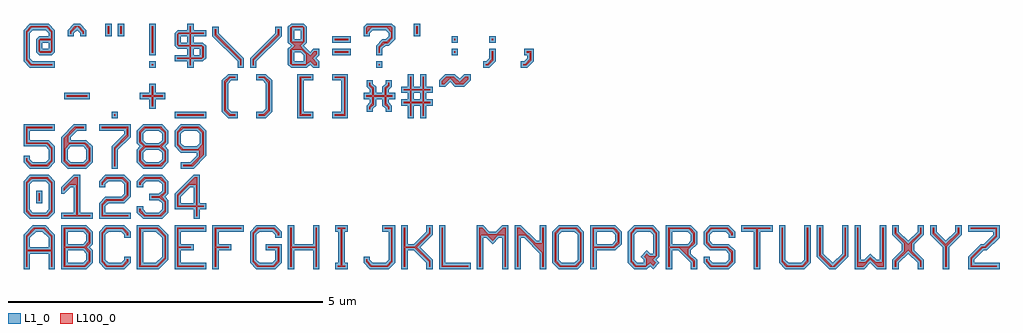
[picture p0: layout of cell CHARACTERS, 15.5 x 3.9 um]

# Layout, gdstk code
import gdstk
lib = gdstk.Library(unit=1e-6, precision=1e-09)
def R(c, l, rs):  # rectangles x0, y0, x1, y1
    for r in rs: c.add(gdstk.rectangle(r[:2], r[2:], *l))
def P(c, l, *ps):  # polygons
    for p in ps: c.add(gdstk.Polygon(p, *l))
L1_0 = (1, 0)
L100_0 = (100, 0)

c_0 = lib.new_cell('0')
R(c_0, L1_0, [(0.2,0.25,0.3,0.45)])
P(c_0, L1_0, [(0.1,0),(0,0.1),(0,0.6),(0.1,0.7),(0.4,0.7),(0.5,0.6),(0.15,0.6),(0.1,0.55),(0.1,0.15),(0.15,0.1),(0.35,0.1),(0.4,0.15),(0.4,0.55),(0.35,0.6),(0.5,0.6),(0.5,0.1),(0.4,0)])

c_8 = lib.new_cell('8')
P(c_8, L1_0, [(0.1,0),(0,0.1),(0,0.3),(0.05,0.35),(0,0.4),(0,0.6),(0.1,0.7),(0.4,0.7),(0.5,0.6),(0.15,0.6),(0.1,0.55),(0.1,0.45),(0.15,0.4),(0.35,0.4),(0.4,0.45),(0.4,0.55),(0.35,0.6),(0.5,0.6),(0.5,0.4),(0.45,0.35),(0.5,0.3),(0.15,0.3),(0.1,0.25),(0.1,0.15),(0.15,0.1),(0.35,0.1),(0.4,0.15),(0.4,0.25),(0.35,0.3),(0.5,0.3),(0.5,0.1),(0.4,0)])

c_5 = lib.new_cell('5')
P(c_5, L1_0, [(0.1,0),(0,0.1),(0,0.2),(0.1,0.2),(0.1,0.15),(0.15,0.1),(0.35,0.1),(0.4,0.15),(0.4,0.3),(0.35,0.35),(0,0.35),(0,0.7),(0.5,0.7),(0.5,0.6),(0.1,0.6),(0.1,0.45),(0.4,0.45),(0.5,0.35),(0.5,0.1),(0.4,0)])

c_2 = lib.new_cell('2')
P(c_2, L1_0, [(0,0),(0,0.25),(0.1,0.35),(0.35,0.35),(0.4,0.4),(0.4,0.55),(0.35,0.6),(0.15,0.6),(0.1,0.55),(0.1,0.5),(0,0.5),(0,0.6),(0.1,0.7),(0.4,0.7),(0.5,0.6),(0.5,0.35),(0.4,0.25),(0.15,0.25),(0.1,0.2),(0.1,0.1),(0.5,0.1),(0.5,0)])

c_y = lib.new_cell('Y')
P(c_y, L1_0, [(0.2,0),(0.2,0.35),(0,0.55),(0,0.7),(0.1,0.7),(0.1,0.6),(0.25,0.45),(0.4,0.6),(0.4,0.7),(0.5,0.7),(0.5,0.55),(0.3,0.35),(0.3,0)])

c_v = lib.new_cell('V')
P(c_v, L1_0, [(0.2,0),(0,0.2),(0,0.7),(0.1,0.7),(0.1,0.25),(0.25,0.1),(0.4,0.25),(0.4,0.7),(0.5,0.7),(0.5,0.2),(0.3,0)])

c_s = lib.new_cell('S')
P(c_s, L1_0, [(0.1,0),(0,0.1),(0,0.2),(0.1,0.2),(0.1,0.15),(0.15,0.1),(0.35,0.1),(0.4,0.15),(0.4,0.25),(0.35,0.3),(0.1,0.3),(0,0.4),(0,0.6),(0.1,0.7),(0.4,0.7),(0.5,0.6),(0.5,0.5),(0.4,0.5),(0.4,0.55),(0.35,0.6),(0.15,0.6),(0.1,0.55),(0.1,0.45),(0.15,0.4),(0.4,0.4),(0.5,0.3),(0.5,0.1),(0.4,0)])

c_p = lib.new_cell('P')
P(c_p, L1_0, [(0,0),(0,0.7),(0.4,0.7),(0.5,0.6),(0.5,0.4),(0.4,0.3),(0.1,0.3),(0.1,0.4),(0.35,0.4),(0.4,0.45),(0.4,0.55),(0.35,0.6),(0.1,0.6),(0.1,0)])

c_m = lib.new_cell('M')
P(c_m, L1_0, [(0,0),(0,0.7),(0.1,0.7),(0.2,0.6),(0.3,0.6),(0.4,0.7),(0.5,0.7),(0.5,0),(0.4,0),(0.4,0.5),(0.35,0.5),(0.25,0.4),(0.15,0.5),(0.1,0.5),(0.1,0)])

c_j = lib.new_cell('J')
P(c_j, L1_0, [(0.1,0),(0,0.1),(0,0.2),(0.1,0.2),(0.1,0.15),(0.15,0.1),(0.35,0.1),(0.4,0.15),(0.4,0.6),(0.3,0.6),(0.3,0.7),(0.5,0.7),(0.5,0.1),(0.4,0)])

c_c = lib.new_cell('C')
P(c_c, L1_0, [(0.1,0),(0,0.1),(0,0.6),(0.1,0.7),(0.4,0.7),(0.5,0.6),(0.5,0.5),(0.4,0.5),(0.4,0.55),(0.35,0.6),(0.15,0.6),(0.1,0.55),(0.1,0.15),(0.15,0.1),(0.35,0.1),(0.4,0.15),(0.4,0.2),(0.5,0.2),(0.5,0.1),(0.4,0)])

c_f = lib.new_cell('F')
P(c_f, L1_0, [(0,0),(0,0.7),(0.5,0.7),(0.5,0.6),(0.1,0.6),(0.1,0.4),(0.3,0.4),(0.3,0.3),(0.1,0.3),(0.1,0)])

c_i = lib.new_cell('I')
P(c_i, L1_0, [(0.15,0),(0.15,0.1),(0.2,0.1),(0.2,0.6),(0.15,0.6),(0.15,0.7),(0.35,0.7),(0.35,0.6),(0.3,0.6),(0.3,0.1),(0.35,0.1),(0.35,0)])

c_9 = lib.new_cell('9')
P(c_9, L1_0, [(0.1,0),(0.1,0.1),(0.25,0.1),(0.35,0.2),(0.35,0.25),(0.1,0.25),(0,0.35),(0.35,0.35),(0.4,0.4),(0.4,0.55),(0.35,0.6),(0.15,0.6),(0.1,0.55),(0.1,0.4),(0.15,0.35),(0,0.35),(0,0.6),(0.1,0.7),(0.4,0.7),(0.5,0.6),(0.5,0.2),(0.3,0)])

c_6 = lib.new_cell('6')
P(c_6, L1_0, [(0.1,0),(0,0.1),(0,0.5),(0.2,0.7),(0.4,0.7),(0.4,0.6),(0.25,0.6),(0.15,0.5),(0.15,0.45),(0.4,0.45),(0.5,0.35),(0.15,0.35),(0.1,0.3),(0.1,0.15),(0.15,0.1),(0.35,0.1),(0.4,0.15),(0.4,0.3),(0.35,0.35),(0.5,0.35),(0.5,0.1),(0.4,0)])

c_3 = lib.new_cell('3')
P(c_3, L1_0, [(0.1,0),(0,0.1),(0,0.2),(0.1,0.2),(0.1,0.15),(0.15,0.1),(0.35,0.1),(0.4,0.15),(0.4,0.25),(0.35,0.3),(0.2,0.3),(0.2,0.4),(0.35,0.4),(0.4,0.45),(0.4,0.55),(0.35,0.6),(0.15,0.6),(0.1,0.55),(0.1,0.5),(0,0.5),(0,0.6),(0.1,0.7),(0.4,0.7),(0.5,0.6),(0.5,0.4),(0.45,0.35),(0.5,0.3),(0.5,0.1),(0.4,0)])

c_z = lib.new_cell('Z')
P(c_z, L1_0, [(0,0),(0,0.2),(0.2,0.4),(0.25,0.4),(0.4,0.55),(0.4,0.6),(0,0.6),(0,0.7),(0.5,0.7),(0.5,0.5),(0.3,0.3),(0.25,0.3),(0.1,0.15),(0.1,0.1),(0.5,0.1),(0.5,0)])

c_w = lib.new_cell('W')
P(c_w, L1_0, [(0,0),(0,0.7),(0.1,0.7),(0.1,0.15),(0.15,0.15),(0.25,0.25),(0.35,0.15),(0.4,0.15),(0.4,0.7),(0.5,0.7),(0.5,0),(0.35,0),(0.25,0.1),(0.15,0)])

c_t = lib.new_cell('T')
P(c_t, L1_0, [(0.2,0),(0.2,0.6),(0,0.6),(0,0.7),(0.5,0.7),(0.5,0.6),(0.3,0.6),(0.3,0)])

c_q = lib.new_cell('Q')
P(c_q, L1_0, [(0.1,0),(0,0.1),(0,0.6),(0.1,0.7),(0.4,0.7),(0.5,0.6),(0.15,0.6),(0.1,0.55),(0.1,0.15),(0.15,0.1),(0.25,0.1),(0.25,0.15),(0.2,0.2),(0.3,0.3),(0.35,0.25),(0.4,0.25),(0.4,0.55),(0.35,0.6),(0.5,0.6),(0.5,0.2),(0.45,0.15),(0.5,0.1),(0.4,0),(0.35,0.05),(0.3,0)])

c_n = lib.new_cell('N')
P(c_n, L1_0, [(0,0),(0,0.7),(0.1,0.7),(0.35,0.45),(0.4,0.45),(0.4,0.7),(0.5,0.7),(0.5,0),(0.4,0),(0.4,0.25),(0.15,0.5),(0.1,0.5),(0.1,0)])

c_k = lib.new_cell('K')
P(c_k, L1_0, [(0,0),(0,0.7),(0.1,0.7),(0.1,0.4),(0.2,0.4),(0.4,0.6),(0.4,0.7),(0.5,0.7),(0.5,0.55),(0.3,0.35),(0.5,0.15),(0.5,0),(0.4,0),(0.4,0.1),(0.2,0.3),(0.1,0.3),(0.1,0)])

c_b = lib.new_cell('B')
P(c_b, L1_0, [(0,0),(0,0.7),(0.4,0.7),(0.5,0.6),(0.1,0.6),(0.1,0.4),(0.35,0.4),(0.4,0.45),(0.4,0.55),(0.35,0.6),(0.5,0.6),(0.5,0.4),(0.45,0.35),(0.5,0.3),(0.1,0.3),(0.1,0.1),(0.35,0.1),(0.4,0.15),(0.4,0.25),(0.35,0.3),(0.5,0.3),(0.5,0.1),(0.4,0)])

c_e = lib.new_cell('E')
P(c_e, L1_0, [(0,0),(0,0.7),(0.5,0.7),(0.5,0.6),(0.1,0.6),(0.1,0.4),(0.3,0.4),(0.3,0.3),(0.1,0.3),(0.1,0.1),(0.5,0.1),(0.5,0)])

c_h = lib.new_cell('H')
P(c_h, L1_0, [(0,0),(0,0.7),(0.1,0.7),(0.1,0.4),(0.4,0.4),(0.4,0.7),(0.5,0.7),(0.5,0),(0.4,0),(0.4,0.3),(0.1,0.3),(0.1,0)])

c_7 = lib.new_cell('7')
P(c_7, L1_0, [(0.2,0),(0.2,0.35),(0.4,0.55),(0.4,0.6),(0,0.6),(0,0.7),(0.5,0.7),(0.5,0.5),(0.3,0.3),(0.3,0)])

c_4 = lib.new_cell('4')
P(c_4, L1_0, [(0.3,0),(0.3,0.15),(0,0.15),(0,0.25),(0.3,0.25),(0.3,0.5),(0.25,0.5),(0.1,0.35),(0.1,0.25),(0,0.25),(0,0.4),(0.3,0.7),(0.4,0.7),(0.4,0.25),(0.5,0.25),(0.5,0.15),(0.4,0.15),(0.4,0)])

c_1 = lib.new_cell('1')
P(c_1, L1_0, [(0,0),(0,0.1),(0.2,0.1),(0.2,0.5),(0.15,0.5),(0.05,0.4),(0,0.4),(0,0.5),(0.2,0.7),(0.3,0.7),(0.3,0.1),(0.5,0.1),(0.5,0)])

c_x = lib.new_cell('X')
P(c_x, L1_0, [(0,0),(0,0.15),(0.15,0.3),(0.15,0.4),(0,0.55),(0,0.7),(0.1,0.7),(0.1,0.6),(0.25,0.45),(0.4,0.6),(0.4,0.7),(0.5,0.7),(0.5,0.55),(0.35,0.4),(0.35,0.3),(0.5,0.15),(0.5,0),(0.4,0),(0.4,0.1),(0.25,0.25),(0.1,0.1),(0.1,0)])

c_u = lib.new_cell('U')
P(c_u, L1_0, [(0.1,0),(0,0.1),(0,0.7),(0.1,0.7),(0.1,0.15),(0.15,0.1),(0.35,0.1),(0.4,0.15),(0.4,0.7),(0.5,0.7),(0.5,0.1),(0.4,0)])

c_r = lib.new_cell('R')
P(c_r, L1_0, [(0,0),(0,0.7),(0.4,0.7),(0.5,0.6),(0.1,0.6),(0.1,0.4),(0.35,0.4),(0.4,0.45),(0.4,0.55),(0.35,0.6),(0.5,0.6),(0.5,0.4),(0.4,0.3),(0.4,0.25),(0.5,0.15),(0.5,0),(0.4,0),(0.4,0.1),(0.2,0.3),(0.1,0.3),(0.1,0)])

c_o = lib.new_cell('O')
P(c_o, L1_0, [(0.1,0),(0,0.1),(0,0.6),(0.1,0.7),(0.4,0.7),(0.5,0.6),(0.5,0.35),(0.4,0.35),(0.4,0.55),(0.35,0.6),(0.15,0.6),(0.1,0.55),(0.1,0.15),(0.15,0.1),(0.35,0.1),(0.4,0.15),(0.4,0.35),(0.5,0.35),(0.5,0.1),(0.4,0)])

c_l = lib.new_cell('L')
P(c_l, L1_0, [(0,0),(0,0.7),(0.1,0.7),(0.1,0.1),(0.5,0.1),(0.5,0)])

c_a = lib.new_cell('A')
P(c_a, L1_0, [(0,0),(0,0.55),(0.15,0.7),(0.35,0.7),(0.45,0.6),(0.2,0.6),(0.1,0.5),(0.1,0.35),(0.4,0.35),(0.4,0.5),(0.3,0.6),(0.45,0.6),(0.5,0.55),(0.5,0),(0.4,0),(0.4,0.25),(0.1,0.25),(0.1,0)])

c_d = lib.new_cell('D')
P(c_d, L1_0, [(0,0),(0,0.7),(0.35,0.7),(0.45,0.6),(0.1,0.6),(0.1,0.1),(0.3,0.1),(0.4,0.2),(0.4,0.5),(0.3,0.6),(0.45,0.6),(0.5,0.55),(0.5,0.15),(0.35,0)])

c_g = lib.new_cell('G')
P(c_g, L1_0, [(0.1,0),(0,0.1),(0,0.6),(0.1,0.7),(0.4,0.7),(0.5,0.6),(0.5,0.5),(0.4,0.5),(0.4,0.55),(0.35,0.6),(0.15,0.6),(0.1,0.55),(0.1,0.15),(0.15,0.1),(0.35,0.1),(0.4,0.15),(0.4,0.3),(0.25,0.3),(0.25,0.4),(0.5,0.4),(0.5,0.1),(0.4,0)])

characters = lib.new_cell('CHARACTERS')
R(characters, L1_0, [(1.4,2.4,1.5,2.5), (2.4,2.4,2.9,2.5), (0.65,2.7,1.05,2.8), (2,3.2,2.1,3.3), (5.6,3.2,5.7,3.3), (2,3.4,2.1,3.9), (4.9,3.4,5.2,3.5), (6.8,3.4,6.9,3.5), (4.9,3.6,5.2,3.7), (6.8,3.6,6.9,3.7), (7.4,3.6,7.5,3.7), (1.3,3.7,1.4,3.9), (1.5,3.7,1.6,3.9), (6.2,3.7,6.3,3.9)])
P(characters, L1_0, [(3.6,3.2),(3.6,3.35),(4,3.75),(4,3.85),(4.1,3.85),(4.1,3.7),(3.7,3.3),(3.7,3.2)],
  [(6.1,2.4),(6.1,2.6),(6,2.6),(6,2.7),(6.1,2.7),(6.1,2.8),(6,2.8),(6,2.9),(6.1,2.9),(6.1,3.1),(6.2,3.1),(6.2,2.9),(6.3,2.9),(6.3,3.1),(6.4,3.1),(6.4,2.9),(6.5,2.9),(6.5,2.8),(6.4,2.8),(6.4,2.7),(6.5,2.7),(6.5,2.6),(6.4,2.6),(6.4,2.4),(6.3,2.4),(6.3,2.8),(6.2,2.8),(6.2,2.7),(6.3,2.7),(6.3,2.6),(6.2,2.6),(6.2,2.4)],
  [(7.9,3.2),(7.9,3.3),(7.95,3.3),(8,3.35),(8,3.4),(7.95,3.4),(7.95,3.5),(8.1,3.5),(8.1,3.3),(8,3.2)],
  [(6.6,2.9),(6.6,3),(6.7,3.1),(6.85,3.1),(6.925,3.025),(7,3.1),(7.1,3.1),(7.1,3),(7,2.9),(6.85,2.9),(6.775,2.975),(6.7,2.9)],
  [(3.4,3.2),(3.4,3.3),(3,3.7),(3,3.85),(3.1,3.85),(3.1,3.75),(3.5,3.35),(3.5,3.2)],
  [(5.6,3.4),(5.6,3.55),(5.7,3.65),(5.75,3.65),(5.8,3.7),(5.8,3.75),(5.75,3.8),(5.55,3.8),(5.5,3.75),(5.5,3.7),(5.4,3.7),(5.4,3.85),(5.45,3.9),(5.85,3.9),(5.9,3.85),(5.9,3.65),(5.8,3.55),(5.75,3.55),(5.7,3.5),(5.7,3.4)],
  [(5.45,2.5),(5.45,2.6),(5.5,2.65),(5.5,2.7),(5.4,2.7),(5.4,2.8),(5.5,2.8),(5.5,2.85),(5.45,2.9),(5.45,3),(5.55,3),(5.55,2.95),(5.6,2.9),(5.6,2.8),(5.7,2.8),(5.7,2.9),(5.75,2.95),(5.75,3),(5.85,3),(5.85,2.9),(5.8,2.85),(5.8,2.8),(5.9,2.8),(5.9,2.7),(5.8,2.7),(5.8,2.65),(5.85,2.6),(5.85,2.5),(5.75,2.5),(5.75,2.55),(5.7,2.6),(5.7,2.7),(5.6,2.7),(5.6,2.6),(5.55,2.55),(5.55,2.5)],
  [(2,2.55),(2,2.7),(1.85,2.7),(1.85,2.8),(2,2.8),(2,2.95),(2.1,2.95),(2.1,2.8),(2.25,2.8),(2.25,2.7),(2.1,2.7),(2.1,2.55)],
  [(4.25,3.2),(4.2,3.25),(4.2,3.5),(4.25,3.55),(4.2,3.6),(4.2,3.85),(4.25,3.9),(4.45,3.9),(4.5,3.85),(4.5,3.8),(4.3,3.8),(4.3,3.65),(4.4,3.65),(4.4,3.8),(4.5,3.8),(4.5,3.6),(4.45,3.55),(4.55,3.45),(4.6,3.5),(4.7,3.5),(4.7,3.45),(4.3,3.45),(4.3,3.3),(4.45,3.3),(4.45,3.4),(4.4,3.45),(4.7,3.45),(4.7,3.4),(4.65,3.35),(4.7,3.3),(4.7,3.2),(4.6,3.2),(4.55,3.25),(4.5,3.2)],
  [(2.6,3.2),(2.6,3.3),(2.4,3.3),(2.4,3.4),(2.6,3.4),(2.6,3.5),(2.45,3.5),(2.4,3.55),(2.4,3.75),(2.45,3.8),(2.6,3.8),(2.6,3.9),(2.7,3.9),(2.7,3.8),(2.9,3.8),(2.9,3.7),(2.5,3.7),(2.5,3.6),(2.6,3.6),(2.6,3.7),(2.7,3.7),(2.7,3.6),(2.85,3.6),(2.9,3.55),(2.9,3.5),(2.7,3.5),(2.7,3.4),(2.8,3.4),(2.8,3.5),(2.9,3.5),(2.9,3.35),(2.85,3.3),(2.7,3.3),(2.7,3.2)],
  [(0.7,3.7),(0.7,3.8),(0.8,3.9),(0.9,3.9),(1,3.8),(1,3.7),(0.9,3.7),(0.9,3.75),(0.85,3.8),(0.8,3.75),(0.8,3.7)],
  [(0.1,3.2),(0,3.3),(0,3.8),(0.1,3.9),(0.4,3.9),(0.5,3.8),(0.5,3.5),(0.4,3.5),(0.4,3.6),(0.3,3.6),(0.3,3.5),(0.5,3.5),(0.5,3.45),(0.45,3.4),(0.25,3.4),(0.2,3.45),(0.2,3.65),(0.25,3.7),(0.4,3.7),(0.4,3.75),(0.35,3.8),(0.15,3.8),(0.1,3.75),(0.1,3.35),(0.15,3.3),(0.5,3.3),(0.5,3.2)],
  [(7.3,3.2),(7.3,3.3),(7.35,3.3),(7.4,3.35),(7.4,3.5),(7.5,3.5),(7.5,3.3),(7.4,3.2)],
  [(3.25,2.4),(3.15,2.5),(3.15,3),(3.25,3.1),(3.4,3.1),(3.4,3),(3.3,3),(3.25,2.95),(3.25,2.55),(3.3,2.5),(3.4,2.5),(3.4,2.4)],
  [(4.9,2.4),(4.9,2.5),(5.05,2.5),(5.05,3),(4.9,3),(4.9,3.1),(5.15,3.1),(5.15,2.4)],
  [(3.7,2.4),(3.7,2.5),(3.8,2.5),(3.85,2.55),(3.85,2.95),(3.8,3),(3.7,3),(3.7,3.1),(3.85,3.1),(3.95,3),(3.95,2.5),(3.85,2.4)],
  [(4.35,2.4),(4.35,3.1),(4.6,3.1),(4.6,3),(4.45,3),(4.45,2.5),(4.6,2.5),(4.6,2.4)])
R(characters, L100_0, [(0.24,1.09,0.26,1.21), (1.44,2.44,1.46,2.46), (2.44,2.44,2.86,2.46), (0.69,2.74,1.01,2.76), (2.04,3.24,2.06,3.26), (5.64,3.24,5.66,3.26), (2.04,3.44,2.06,3.86), (4.94,3.44,5.16,3.46), (6.84,3.44,6.86,3.46), (4.94,3.64,5.16,3.66), (6.84,3.64,6.86,3.66), (7.44,3.64,7.46,3.66), (1.34,3.74,1.36,3.86), (1.54,3.74,1.56,3.86), (6.24,3.74,6.26,3.86)])
P(characters, L100_0, [(9.716,0.04),(9.64,0.116),(9.64,0.584),(9.716,0.66),(9.984,0.66),(10.004,0.64),(9.734,0.64),(9.66,0.566),(9.66,0.134),(9.734,0.06),(9.89,0.06),(9.89,0.166),(9.856,0.2),(9.9,0.244),(9.934,0.21),(10.04,0.21),(10.04,0.566),(9.966,0.64),(10.004,0.64),(10.06,0.584),(10.06,0.216),(9.994,0.15),(10.044,0.1),(10,0.056),(9.95,0.106),(9.884,0.04)],
  [(12.116,0.04),(12.04,0.116),(12.04,0.66),(12.06,0.66),(12.06,0.134),(12.134,0.06),(12.366,0.06),(12.44,0.134),(12.44,0.66),(12.46,0.66),(12.46,0.116),(12.384,0.04)],
  [(10.24,0.04),(10.24,0.66),(10.584,0.66),(10.604,0.64),(10.26,0.64),(10.26,0.36),(10.566,0.36),(10.64,0.434),(10.64,0.566),(10.566,0.64),(10.604,0.64),(10.66,0.584),(10.66,0.416),(10.56,0.316),(10.56,0.234),(10.66,0.134),(10.66,0.04),(10.64,0.04),(10.64,0.116),(10.416,0.34),(10.26,0.34),(10.26,0.04)],
  [(7.94,3.24),(7.94,3.26),(7.966,3.26),(8.04,3.334),(8.04,3.44),(7.99,3.44),(7.99,3.46),(8.06,3.46),(8.06,3.316),(7.984,3.24)],
  [(10.916,0.04),(10.84,0.116),(10.84,0.16),(10.86,0.16),(10.86,0.134),(10.934,0.06),(11.166,0.06),(11.24,0.134),(11.24,0.266),(11.166,0.34),(10.916,0.34),(10.84,0.416),(10.84,0.584),(10.916,0.66),(11.184,0.66),(11.26,0.584),(11.26,0.54),(11.24,0.54),(11.24,0.566),(11.166,0.64),(10.934,0.64),(10.86,0.566),(10.86,0.434),(10.934,0.36),(11.184,0.36),(11.26,0.284),(11.26,0.116),(11.184,0.04)],
  [(15.04,0.04),(15.04,0.184),(15.216,0.36),(15.266,0.36),(15.44,0.534),(15.44,0.64),(15.04,0.64),(15.04,0.66),(15.46,0.66),(15.46,0.516),(15.284,0.34),(15.234,0.34),(15.06,0.166),(15.06,0.06),(15.46,0.06),(15.46,0.04)],
  [(12.816,0.04),(12.64,0.216),(12.64,0.66),(12.66,0.66),(12.66,0.234),(12.85,0.044),(13.04,0.234),(13.04,0.66),(13.06,0.66),(13.06,0.216),(12.884,0.04)],
  [(5.49,2.54),(5.49,2.584),(5.54,2.634),(5.54,2.74),(5.44,2.74),(5.44,2.76),(5.54,2.76),(5.54,2.866),(5.49,2.916),(5.49,2.96),(5.51,2.96),(5.51,2.934),(5.56,2.884),(5.56,2.76),(5.74,2.76),(5.74,2.884),(5.79,2.934),(5.79,2.96),(5.81,2.96),(5.81,2.916),(5.76,2.866),(5.76,2.76),(5.86,2.76),(5.86,2.74),(5.76,2.74),(5.76,2.634),(5.81,2.584),(5.81,2.54),(5.79,2.54),(5.79,2.566),(5.74,2.616),(5.74,2.74),(5.56,2.74),(5.56,2.616),(5.51,2.566),(5.51,2.54)],
  [(1.916,1.64),(1.84,1.716),(1.84,1.884),(1.906,1.95),(1.84,2.016),(1.84,2.184),(1.916,2.26),(2.184,2.26),(2.204,2.24),(1.934,2.24),(1.86,2.166),(1.86,2.034),(1.934,1.96),(2.166,1.96),(2.24,2.034),(2.24,2.166),(2.166,2.24),(2.204,2.24),(2.26,2.184),(2.26,2.016),(2.194,1.95),(2.204,1.94),(1.934,1.94),(1.86,1.866),(1.86,1.734),(1.934,1.66),(2.166,1.66),(2.24,1.734),(2.24,1.866),(2.166,1.94),(2.204,1.94),(2.26,1.884),(2.26,1.716),(2.184,1.64)],
  [(0.716,1.64),(0.64,1.716),(0.64,2.084),(0.816,2.26),(0.96,2.26),(0.96,2.24),(0.834,2.24),(0.71,2.116),(0.71,2.01),(0.984,2.01),(1.004,1.99),(0.734,1.99),(0.66,1.916),(0.66,1.734),(0.734,1.66),(0.966,1.66),(1.04,1.734),(1.04,1.916),(0.966,1.99),(1.004,1.99),(1.06,1.934),(1.06,1.716),(0.984,1.64)],
  [(9.04,0.04),(9.04,0.66),(9.384,0.66),(9.404,0.64),(9.06,0.64),(9.06,0.36),(9.366,0.36),(9.44,0.434),(9.44,0.566),(9.366,0.64),(9.404,0.64),(9.46,0.584),(9.46,0.416),(9.384,0.34),(9.06,0.34),(9.06,0.04)],
  [(4.266,3.24),(4.24,3.266),(4.24,3.484),(4.306,3.55),(4.24,3.616),(4.24,3.834),(4.266,3.86),(4.434,3.86),(4.454,3.84),(4.26,3.84),(4.26,3.61),(4.44,3.61),(4.44,3.84),(4.454,3.84),(4.46,3.834),(4.46,3.616),(4.394,3.55),(4.454,3.49),(4.26,3.49),(4.26,3.26),(4.49,3.26),(4.49,3.416),(4.416,3.49),(4.454,3.49),(4.55,3.394),(4.616,3.46),(4.66,3.46),(4.66,3.416),(4.594,3.35),(4.66,3.284),(4.66,3.24),(4.616,3.24),(4.55,3.306),(4.484,3.24)],
  [(6.04,0.04),(6.04,0.66),(6.06,0.66),(6.06,0.36),(6.216,0.36),(6.44,0.584),(6.44,0.66),(6.46,0.66),(6.46,0.566),(6.244,0.35),(6.46,0.134),(6.46,0.04),(6.44,0.04),(6.44,0.116),(6.216,0.34),(6.06,0.34),(6.06,0.04)],
  [(3.44,3.24),(3.44,3.316),(3.04,3.716),(3.04,3.81),(3.06,3.81),(3.06,3.734),(3.46,3.334),(3.46,3.24)],
  [(7.34,3.24),(7.34,3.26),(7.366,3.26),(7.44,3.334),(7.44,3.46),(7.46,3.46),(7.46,3.316),(7.384,3.24)],
  [(5.516,0.04),(5.44,0.116),(5.44,0.16),(5.46,0.16),(5.46,0.134),(5.534,0.06),(5.766,0.06),(5.84,0.134),(5.84,0.64),(5.74,0.64),(5.74,0.66),(5.86,0.66),(5.86,0.116),(5.784,0.04)],
  [(1.84,0.04),(1.84,0.66),(2.134,0.66),(2.154,0.64),(1.86,0.64),(1.86,0.06),(2.116,0.06),(2.24,0.184),(2.24,0.516),(2.116,0.64),(2.154,0.64),(2.26,0.534),(2.26,0.166),(2.134,0.04)],
  [(2.54,1.64),(2.54,1.66),(2.666,1.66),(2.79,1.784),(2.79,1.89),(2.516,1.89),(2.44,1.966),(2.44,2.184),(2.516,2.26),(2.784,2.26),(2.804,2.24),(2.534,2.24),(2.46,2.166),(2.46,1.984),(2.534,1.91),(2.766,1.91),(2.84,1.984),(2.84,2.166),(2.766,2.24),(2.804,2.24),(2.86,2.184),(2.86,1.816),(2.684,1.64)],
  [(3.74,2.44),(3.74,2.46),(3.816,2.46),(3.89,2.534),(3.89,2.966),(3.816,3.04),(3.74,3.04),(3.74,3.06),(3.834,3.06),(3.91,2.984),(3.91,2.516),(3.834,2.44)],
  [(1.24,0.84),(1.24,1.034),(1.316,1.11),(1.566,1.11),(1.64,1.184),(1.64,1.366),(1.566,1.44),(1.334,1.44),(1.26,1.366),(1.26,1.34),(1.24,1.34),(1.24,1.384),(1.316,1.46),(1.584,1.46),(1.66,1.384),(1.66,1.166),(1.584,1.09),(1.334,1.09),(1.26,1.016),(1.26,0.86),(1.66,0.86),(1.66,0.84)],
  [(3.64,3.24),(3.64,3.334),(4.04,3.734),(4.04,3.81),(4.06,3.81),(4.06,3.716),(3.66,3.316),(3.66,3.24)],
  [(2.64,3.24),(2.64,3.34),(2.44,3.34),(2.44,3.36),(2.64,3.36),(2.64,3.54),(2.466,3.54),(2.44,3.566),(2.44,3.734),(2.466,3.76),(2.64,3.76),(2.64,3.86),(2.66,3.86),(2.66,3.76),(2.86,3.76),(2.86,3.74),(2.46,3.74),(2.46,3.56),(2.64,3.56),(2.64,3.74),(2.66,3.74),(2.66,3.56),(2.834,3.56),(2.854,3.54),(2.66,3.54),(2.66,3.36),(2.84,3.36),(2.84,3.54),(2.854,3.54),(2.86,3.534),(2.86,3.366),(2.834,3.34),(2.66,3.34),(2.66,3.24)],
  [(1.916,0.84),(1.84,0.916),(1.84,0.96),(1.86,0.96),(1.86,0.934),(1.934,0.86),(2.166,0.86),(2.24,0.934),(2.24,1.066),(2.166,1.14),(2.04,1.14),(2.04,1.16),(2.166,1.16),(2.24,1.234),(2.24,1.366),(2.166,1.44),(1.934,1.44),(1.86,1.366),(1.86,1.34),(1.84,1.34),(1.84,1.384),(1.916,1.46),(2.184,1.46),(2.26,1.384),(2.26,1.216),(2.194,1.15),(2.26,1.084),(2.26,0.916),(2.184,0.84)],
  [(1.316,0.04),(1.24,0.116),(1.24,0.584),(1.316,0.66),(1.584,0.66),(1.66,0.584),(1.66,0.54),(1.64,0.54),(1.64,0.566),(1.566,0.64),(1.334,0.64),(1.26,0.566),(1.26,0.134),(1.334,0.06),(1.566,0.06),(1.64,0.134),(1.64,0.16),(1.66,0.16),(1.66,0.116),(1.584,0.04)],
  [(8.516,0.04),(8.44,0.116),(8.44,0.584),(8.516,0.66),(8.784,0.66),(8.804,0.64),(8.534,0.64),(8.46,0.566),(8.46,0.134),(8.534,0.06),(8.766,0.06),(8.84,0.134),(8.84,0.566),(8.766,0.64),(8.804,0.64),(8.86,0.584),(8.86,0.116),(8.784,0.04)],
  [(0.116,0.84),(0.04,0.916),(0.04,1.384),(0.116,1.46),(0.384,1.46),(0.404,1.44),(0.134,1.44),(0.06,1.366),(0.06,0.934),(0.134,0.86),(0.366,0.86),(0.44,0.934),(0.44,1.366),(0.366,1.44),(0.404,1.44),(0.46,1.384),(0.46,0.916),(0.384,0.84)],
  [(3.266,2.44),(3.19,2.516),(3.19,2.984),(3.266,3.06),(3.36,3.06),(3.36,3.04),(3.284,3.04),(3.21,2.966),(3.21,2.534),(3.284,2.46),(3.36,2.46),(3.36,2.44)],
  [(2.04,2.59),(2.04,2.74),(1.89,2.74),(1.89,2.76),(2.04,2.76),(2.04,2.91),(2.06,2.91),(2.06,2.76),(2.21,2.76),(2.21,2.74),(2.06,2.74),(2.06,2.59)],
  [(0.64,0.04),(0.64,0.66),(0.984,0.66),(1.004,0.64),(0.66,0.64),(0.66,0.36),(0.966,0.36),(1.04,0.434),(1.04,0.566),(0.966,0.64),(1.004,0.64),(1.06,0.584),(1.06,0.416),(0.994,0.35),(1.004,0.34),(0.66,0.34),(0.66,0.06),(0.966,0.06),(1.04,0.134),(1.04,0.266),(0.966,0.34),(1.004,0.34),(1.06,0.284),(1.06,0.116),(0.984,0.04)],
  [(0.04,0.04),(0.04,0.534),(0.166,0.66),(0.334,0.66),(0.354,0.64),(0.184,0.64),(0.06,0.516),(0.06,0.31),(0.44,0.31),(0.44,0.516),(0.316,0.64),(0.354,0.64),(0.46,0.534),(0.46,0.04),(0.44,0.04),(0.44,0.29),(0.06,0.29),(0.06,0.04)],
  [(4.94,2.44),(4.94,2.46),(5.09,2.46),(5.09,3.04),(4.94,3.04),(4.94,3.06),(5.11,3.06),(5.11,2.44)],
  [(6.64,0.04),(6.64,0.66),(6.66,0.66),(6.66,0.06),(7.06,0.06),(7.06,0.04)],
  [(0.74,3.74),(0.74,3.784),(0.816,3.86),(0.884,3.86),(0.96,3.784),(0.96,3.74),(0.94,3.74),(0.94,3.766),(0.85,3.856),(0.76,3.766),(0.76,3.74)],
  [(3.716,0.04),(3.64,0.116),(3.64,0.584),(3.716,0.66),(3.984,0.66),(4.06,0.584),(4.06,0.54),(4.04,0.54),(4.04,0.566),(3.966,0.64),(3.734,0.64),(3.66,0.566),(3.66,0.134),(3.734,0.06),(3.966,0.06),(4.04,0.134),(4.04,0.34),(3.89,0.34),(3.89,0.36),(4.06,0.36),(4.06,0.116),(3.984,0.04)],
  [(6.14,2.44),(6.14,2.64),(6.04,2.64),(6.04,2.66),(6.14,2.66),(6.14,2.84),(6.04,2.84),(6.04,2.86),(6.14,2.86),(6.14,3.06),(6.16,3.06),(6.16,2.86),(6.34,2.86),(6.34,3.06),(6.36,3.06),(6.36,2.86),(6.46,2.86),(6.46,2.84),(6.16,2.84),(6.16,2.66),(6.34,2.66),(6.34,2.84),(6.36,2.84),(6.36,2.66),(6.46,2.66),(6.46,2.64),(6.36,2.64),(6.36,2.44),(6.34,2.44),(6.34,2.64),(6.16,2.64),(6.16,2.44)],
  [(7.84,0.04),(7.84,0.66),(7.884,0.66),(8.134,0.41),(8.24,0.41),(8.24,0.66),(8.26,0.66),(8.26,0.04),(8.24,0.04),(8.24,0.266),(7.966,0.54),(7.86,0.54),(7.86,0.04)],
  [(1.44,1.64),(1.44,1.934),(1.64,2.134),(1.64,2.24),(1.24,2.24),(1.24,2.26),(1.66,2.26),(1.66,2.116),(1.46,1.916),(1.46,1.64)],
  [(3.04,0.04),(3.04,0.66),(3.46,0.66),(3.46,0.64),(3.06,0.64),(3.06,0.36),(3.26,0.36),(3.26,0.34),(3.06,0.34),(3.06,0.04)],
  [(5.64,3.44),(5.64,3.534),(5.716,3.61),(5.766,3.61),(5.84,3.684),(5.84,3.766),(5.766,3.84),(5.534,3.84),(5.46,3.766),(5.46,3.74),(5.44,3.74),(5.44,3.834),(5.466,3.86),(5.834,3.86),(5.86,3.834),(5.86,3.666),(5.784,3.59),(5.734,3.59),(5.66,3.516),(5.66,3.44)],
  [(6.64,2.94),(6.64,2.984),(6.716,3.06),(6.834,3.06),(6.925,2.969),(7.016,3.06),(7.06,3.06),(7.06,3.016),(6.984,2.94),(6.866,2.94),(6.775,3.031),(6.684,2.94)],
  [(11.64,0.04),(11.64,0.64),(11.44,0.64),(11.44,0.66),(11.86,0.66),(11.86,0.64),(11.66,0.64),(11.66,0.04)],
  [(0.116,1.64),(0.04,1.716),(0.04,1.76),(0.06,1.76),(0.06,1.734),(0.134,1.66),(0.366,1.66),(0.44,1.734),(0.44,1.916),(0.366,1.99),(0.04,1.99),(0.04,2.26),(0.46,2.26),(0.46,2.24),(0.06,2.24),(0.06,2.01),(0.384,2.01),(0.46,1.934),(0.46,1.716),(0.384,1.64)],
  [(0.116,3.24),(0.04,3.316),(0.04,3.784),(0.116,3.86),(0.384,3.86),(0.46,3.784),(0.46,3.64),(0.26,3.64),(0.26,3.46),(0.44,3.46),(0.44,3.64),(0.46,3.64),(0.46,3.466),(0.434,3.44),(0.266,3.44),(0.24,3.466),(0.24,3.634),(0.266,3.66),(0.44,3.66),(0.44,3.766),(0.366,3.84),(0.134,3.84),(0.06,3.766),(0.06,3.334),(0.134,3.26),(0.46,3.26),(0.46,3.24)],
  [(2.74,0.84),(2.74,0.99),(2.44,0.99),(2.44,1.184),(2.716,1.46),(2.76,1.46),(2.76,1.34),(2.634,1.34),(2.46,1.166),(2.46,1.01),(2.74,1.01),(2.74,1.34),(2.76,1.34),(2.76,1.01),(2.86,1.01),(2.86,0.99),(2.76,0.99),(2.76,0.84)],
  [(13.84,0.04),(13.84,0.134),(13.99,0.284),(13.99,0.416),(13.84,0.566),(13.84,0.66),(13.86,0.66),(13.86,0.584),(14.05,0.394),(14.24,0.584),(14.24,0.66),(14.26,0.66),(14.26,0.566),(14.11,0.416),(14.11,0.284),(14.26,0.134),(14.26,0.04),(14.24,0.04),(14.24,0.116),(14.05,0.306),(13.86,0.116),(13.86,0.04)],
  [(2.44,0.04),(2.44,0.66),(2.86,0.66),(2.86,0.64),(2.46,0.64),(2.46,0.36),(2.66,0.36),(2.66,0.34),(2.46,0.34),(2.46,0.06),(2.86,0.06),(2.86,0.04)],
  [(7.24,0.04),(7.24,0.66),(7.284,0.66),(7.384,0.56),(7.516,0.56),(7.616,0.66),(7.66,0.66),(7.66,0.04),(7.64,0.04),(7.64,0.54),(7.534,0.54),(7.45,0.456),(7.366,0.54),(7.26,0.54),(7.26,0.04)],
  [(14.64,0.04),(14.64,0.366),(14.44,0.566),(14.44,0.66),(14.46,0.66),(14.46,0.584),(14.65,0.394),(14.84,0.584),(14.84,0.66),(14.86,0.66),(14.86,0.566),(14.66,0.366),(14.66,0.04)],
  [(13.24,0.04),(13.24,0.66),(13.26,0.66),(13.26,0.11),(13.366,0.11),(13.45,0.194),(13.534,0.11),(13.64,0.11),(13.64,0.66),(13.66,0.66),(13.66,0.04),(13.566,0.04),(13.45,0.156),(13.334,0.04)],
  [(0.64,0.84),(0.64,0.86),(0.84,0.86),(0.84,1.34),(0.734,1.34),(0.64,1.246),(0.64,1.284),(0.816,1.46),(0.86,1.46),(0.86,0.86),(1.06,0.86),(1.06,0.84)],
  [(4.99,0.04),(4.99,0.06),(5.04,0.06),(5.04,0.64),(4.99,0.64),(4.99,0.66),(5.11,0.66),(5.11,0.64),(5.06,0.64),(5.06,0.06),(5.11,0.06),(5.11,0.04)],
  [(4.24,0.04),(4.24,0.66),(4.26,0.66),(4.26,0.36),(4.64,0.36),(4.64,0.66),(4.66,0.66),(4.66,0.04),(4.64,0.04),(4.64,0.34),(4.26,0.34),(4.26,0.04)],
  [(4.39,2.44),(4.39,3.06),(4.56,3.06),(4.56,3.04),(4.41,3.04),(4.41,2.46),(4.56,2.46),(4.56,2.44)])
characters.add(gdstk.Reference(c_0, (0,0.8)))
characters.add(gdstk.Reference(c_8, (1.8,1.6)))
characters.add(gdstk.Reference(c_5, (0,1.6)))
characters.add(gdstk.Reference(c_2, (1.2,0.8)))
characters.add(gdstk.Reference(c_y, (14.4,0)))
characters.add(gdstk.Reference(c_v, (12.6,0)))
characters.add(gdstk.Reference(c_s, (10.8,0)))
characters.add(gdstk.Reference(c_p, (9,0)))
characters.add(gdstk.Reference(c_m, (7.2,0)))
characters.add(gdstk.Reference(c_j, (5.4,0)))
characters.add(gdstk.Reference(c_c, (1.2,0)))
characters.add(gdstk.Reference(c_f, (3,0)))
characters.add(gdstk.Reference(c_i, (4.8,0)))
characters.add(gdstk.Reference(c_9, (2.4,1.6)))
characters.add(gdstk.Reference(c_6, (0.6,1.6)))
characters.add(gdstk.Reference(c_3, (1.8,0.8)))
characters.add(gdstk.Reference(c_z, (15,0)))
characters.add(gdstk.Reference(c_w, (13.2,0)))
characters.add(gdstk.Reference(c_t, (11.4,0)))
characters.add(gdstk.Reference(c_q, (9.6,0)))
characters.add(gdstk.Reference(c_n, (7.8,0)))
characters.add(gdstk.Reference(c_k, (6,0)))
characters.add(gdstk.Reference(c_b, (0.6,0)))
characters.add(gdstk.Reference(c_e, (2.4,0)))
characters.add(gdstk.Reference(c_h, (4.2,0)))
characters.add(gdstk.Reference(c_7, (1.2,1.6)))
characters.add(gdstk.Reference(c_4, (2.4,0.8)))
characters.add(gdstk.Reference(c_1, (0.6,0.8)))
characters.add(gdstk.Reference(c_x, (13.8,0)))
characters.add(gdstk.Reference(c_u, (12,0)))
characters.add(gdstk.Reference(c_r, (10.2,0)))
characters.add(gdstk.Reference(c_o, (8.4,0)))
characters.add(gdstk.Reference(c_l, (6.6,0)))
characters.add(gdstk.Reference(c_a, (0,0)))
characters.add(gdstk.Reference(c_d, (1.8,0)))
characters.add(gdstk.Reference(c_g, (3.6,0)))

lib.write_gds('CHARACTERS.gds')
